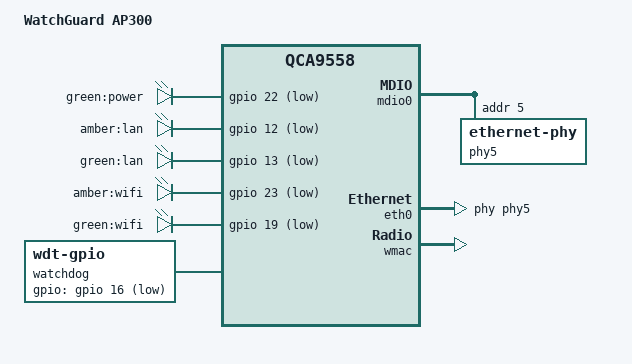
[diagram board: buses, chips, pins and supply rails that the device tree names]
// SPDX-License-Identifier: GPL-2.0-or-later OR MIT

#include "qca955x_senao_ap.dtsi"

/ {
	compatible = "watchguard,ap300", "qca,qca9558";
	model = "WatchGuard AP300";

	leds {
		compatible = "gpio-leds";

		led_power: power {
			label = "green:power";
			gpios = <&gpio 22 GPIO_ACTIVE_LOW>;
			default-state = "on";
		};

		lan_link {
			label = "amber:lan";
			gpios = <&gpio 12 GPIO_ACTIVE_LOW>;
		};

		lan_data {
			label = "green:lan";
			gpios = <&gpio 13 GPIO_ACTIVE_LOW>;
		};

		wifi_amber {
			label = "amber:wifi";
			gpios = <&gpio 23 GPIO_ACTIVE_LOW>;
			linux,default-trigger = "phy1tpt";
		};

		wifi_green {
			label = "green:wifi";
			gpios = <&gpio 19 GPIO_ACTIVE_LOW>;
			linux,default-trigger = "phy0tpt";
		};
	};

	watchdog {
		compatible = "linux,wdt-gpio";
		gpios = <&gpio 16 GPIO_ACTIVE_LOW>;
		hw_algo = "toggle";
		hw_margin_ms = <20000>;
		always-running;
	};

	virtual_flash {
		devices = <&fwconcat0 &fwconcat1 &fwconcat2>;
	};
};

&partitions {
	fwconcat2: partition@ff0000 {
		label = "fwconcat2";
		reg = <0xff0000 0x1000000>;
	};

	art: partition@1ff0000 {
		label = "art";
		reg = <0x1ff0000 0x010000>;
		read-only;
	};
};

&wdt {
	status = "disabled";
};

&mdio0 {
	status = "okay";

	phy5: ethernet-phy@5 {
		reg = <5>;
		eee-broken-100tx;
		eee-broken-1000t;
	};
};

&eth0 {
	phy-handle = <&phy5>;
};

&wmac {
	status = "okay";

	mtd-cal-data = <&art 0x1000>;
	mtd-mac-address = <&art 0x0>;
	mtd-mac-address-increment = <1>;
};
